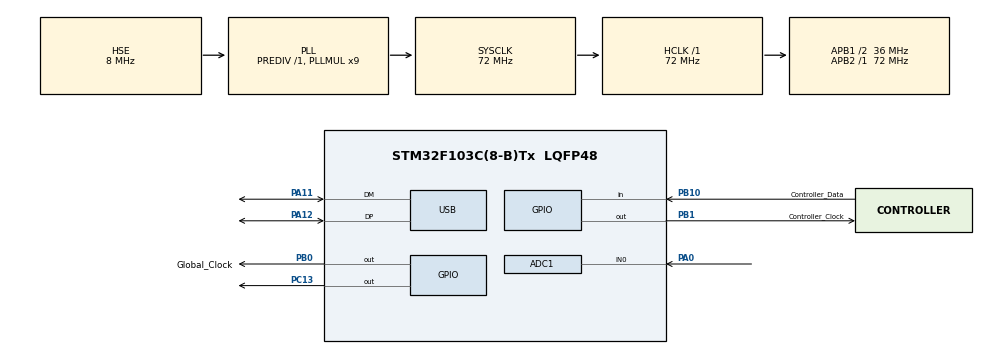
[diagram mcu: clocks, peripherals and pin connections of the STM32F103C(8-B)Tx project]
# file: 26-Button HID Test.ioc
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ADC1.Channel-0\#ChannelRegularConversion=ADC_CHANNEL_0
ADC1.NbrOfConversionFlag=1
ADC1.Rank-0\#ChannelRegularConversion=1
ADC1.SamplingTime-0\#ChannelRegularConversion=ADC_SAMPLETIME_1CYCLE_5
ADC1.master=1
Mcu.Family=STM32F1
Mcu.Name=STM32F103C(8-B)Tx
Mcu.Package=LQFP48
NVIC.PriorityGroup=NVIC_PRIORITYGROUP_4
NVIC.USB_LP_CAN1_RX0_IRQn=true\:0\:0\:false\:false\:true\:false\:true
PA0-WKUP.Signal=ADCx_IN0
PA11.Mode=Device
PA11.Signal=USB_DM
PA12.Mode=Device
PA12.Signal=USB_DP
PA13.Mode=Serial_Wire
PA13.Signal=SYS_JTMS-SWDIO
PA14.Mode=Serial_Wire
PA14.Signal=SYS_JTCK-SWCLK
PB0.GPIO_Label=Global_Clock
PB0.Signal=GPIO_Output
PB1.GPIO_Label=Controller_Clock
PB1.Signal=GPIO_Output
PB10.GPIO_Label=Controller_Data
PB10.Signal=GPIO_Input
PC13-TAMPER-RTC.Signal=GPIO_Output
PD0-OSC_IN.Mode=HSE-External-Oscillator
PD0-OSC_IN.Signal=RCC_OSC_IN
PD1-OSC_OUT.Mode=HSE-External-Oscillator
PD1-OSC_OUT.Signal=RCC_OSC_OUT
ProjectManager.HeapSize=0x200
ProjectManager.StackSize=0x400
ProjectManager.TargetToolchain=STM32CubeIDE
RCC.ADCPresc=RCC_ADCPCLK2_DIV6
RCC.AHBFreq_Value=72000000
RCC.APB1CLKDivider=RCC_HCLK_DIV2
RCC.APB1Freq_Value=36000000
RCC.APB1TimFreq_Value=72000000
RCC.APB2Freq_Value=72000000
RCC.APB2TimFreq_Value=72000000
RCC.HCLKFreq_Value=72000000
RCC.PLLMUL=RCC_PLL_MUL9
RCC.SYSCLKFreq_VALUE=72000000
RCC.SYSCLKSource=RCC_SYSCLKSOURCE_PLLCLK
RCC.USBFreq_Value=48000000
RCC.USBPrescaler=RCC_USBCLKSOURCE_PLL_DIV1_5
SH.ADCx_IN0.0=ADC1_IN0,IN0
USB_DEVICE.CLASS_NAME_FS=CUSTOM_HID
USB_DEVICE.MANUFACTURER_STRING=Kramer Electronics Ltd.
USB_DEVICE.PID_CUSTOMHID_FS=12352 
USB_DEVICE.PRODUCT_STRING_CUSTOMHID_FS=GameVision 50
USB_DEVICE.USBD_CUSTOM_HID_REPORT_DESC_SIZE=41
USB_DEVICE.VID=7857
USB_DEVICE.VirtualMode=CustomHid
USB_DEVICE.VirtualModeFS=Custom_Hid_FS
VP_USB_DEVICE_VS_USB_DEVICE_CUSTOM_HID_FS.Mode=CUSTOM_HID_FS
board=custom

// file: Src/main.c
/* USER CODE BEGIN Header */
/**
  ******************************************************************************
  * @file           : main.c
  * @brief          : Main program body
  ******************************************************************************
  * @attention
  *
  * <h2><center>&copy; Copyright (c) 2020 STMicroelectronics.
  * All rights reserved.</center></h2>
  *
  * This software component is licensed by ST under Ultimate Liberty license
  * SLA0044, the "License"; You may not use this file except in compliance with
  * the License. You may obtain a copy of the License at:
  *                             www.st.com/SLA0044
  *
  ******************************************************************************
  */
/* USER CODE END Header */

#include "main.h"
#include "usb_device.h"

/* USER CODE BEGIN Includes */
#include "stdbool.h"
#include "usbd_custom_hid_if.h"
extern USBD_HandleTypeDef hUsbDeviceFS;
/* USER CODE END Includes */

ADC_HandleTypeDef hadc1;

void SystemClock_Config(void);
static void MX_GPIO_Init(void);
static void MX_ADC1_Init(void);

int main(void)
{

  /* MCU Configuration--------------------------------------------------------*/

  /* Reset of all peripherals, Initializes the Flash interface and the Systick. */
  HAL_Init();

  /* Configure the system clock */
  SystemClock_Config();

  /* Initialize all configured peripherals */
  MX_GPIO_Init();
  MX_USB_DEVICE_Init();
  MX_ADC1_Init();
  /* USER CODE BEGIN 2 */

  uint16_t button_codes[8] = {
	  0b1000000010000000,
	  0b0100000001000000,
	  0b0010000000100000,
	  0b0001000000010000,
	  0b0000100000001000,
	  0b0000010000000100,
	  0b0000001000000010,
	  0b0000000100000001
  };

  struct gamepad_report_t
  {
	  uint16_t steering;
      uint16_t buttons;
  };

  bool clock_one_bit()
  {
	  bool result = HAL_GPIO_ReadPin(GPIOB, Controller_Data_Pin);
	  HAL_GPIO_WritePin(GPIOB, Controller_Clock_Pin, RESET); //-_
	  HAL_GPIO_WritePin(GPIOB, Controller_Clock_Pin, SET); //-_-
	  HAL_Delay(1);
	  return result;
  }

  uint16_t get_controller_register()
  {
	  uint16_t controller_register = 0;
	  uint8_t counter = 15;

	  //build 2 sets of 8 bits
	  for (uint8_t i = 0; i < 2; i++)
	  {
		  //global clock gets a pulse
		  HAL_GPIO_WritePin(GPIOB, Global_Clock_Pin, SET); //_-
		  HAL_GPIO_WritePin(GPIOB, Global_Clock_Pin, RESET); //_-_

		  //take a reading of first bit

		  for (uint8_t j = 0; j < 8; j++)
		  {
			  //clock out 8 bits
			  controller_register |= clock_one_bit() << counter--;
		  }
	  }
	  return ~controller_register;
  }

  //Setup default pin states for 3-pin controller

  HAL_GPIO_WritePin(GPIOB, Global_Clock_Pin, RESET);
  HAL_GPIO_WritePin(GPIOB, Controller_Clock_Pin, SET);

  /* USER CODE END 2 */

  /* Infinite loop */
  /* USER CODE BEGIN WHILE */
  while (1)
  {
	  struct gamepad_report_t gamepadReport;
	  //gamepadReport.buttons = 0;

	  HAL_ADC_Start(&hadc1);
	  HAL_ADC_PollForConversion(&hadc1, 100);

	  gamepadReport.steering = HAL_ADC_GetValue(&hadc1);

	  uint16_t controller_register = get_controller_register();
	  //gamepadReport.buttons = controller_register;

	  gamepadReport.buttons = 0;
	  for (int i = 0; i < (sizeof(button_codes) / 2); i++)
	  {
		  //gamepadReport.buttons |= 1 << i;

		  if (controller_register && controller_register & button_codes[i])
		  {
			  HAL_GPIO_WritePin(GPIOC, GPIO_PIN_13, RESET);
			  gamepadReport.buttons |= 1 << i;
		  }
		  else
		  {
			  HAL_GPIO_WritePin(GPIOC, GPIO_PIN_13, SET);
		  }

	  }

	  /*
	  if (get_controller_register() == 0b0100000001000000)
	  {
		  HAL_GPIO_WritePin(GPIOC, GPIO_PIN_13, RESET);
		  gamepadReport.buttons = 0b0000000000000001;
	  }
	  else
	  {
		  HAL_GPIO_WritePin(GPIOC, GPIO_PIN_13, SET);
		  gamepadReport.buttons = 0b0000000000000000;
	  }
	  */

	  USBD_CUSTOM_HID_SendReport(&hUsbDeviceFS, &gamepadReport, sizeof(struct gamepad_report_t));

    /* USER CODE END WHILE */

  }
}

void SystemClock_Config(void)
{
  RCC_OscInitTypeDef RCC_OscInitStruct = {0};
  RCC_ClkInitTypeDef RCC_ClkInitStruct = {0};
  RCC_PeriphCLKInitTypeDef PeriphClkInit = {0};

  /** Initializes the CPU, AHB and APB busses clocks
  */
  RCC_OscInitStruct.OscillatorType = RCC_OSCILLATORTYPE_HSE;
  RCC_OscInitStruct.HSEState = RCC_HSE_ON;
  RCC_OscInitStruct.HSEPredivValue = RCC_HSE_PREDIV_DIV1;
  RCC_OscInitStruct.HSIState = RCC_HSI_ON;
  RCC_OscInitStruct.PLL.PLLState = RCC_PLL_ON;
  RCC_OscInitStruct.PLL.PLLSource = RCC_PLLSOURCE_HSE;
  RCC_OscInitStruct.PLL.PLLMUL = RCC_PLL_MUL9;
  if (HAL_RCC_OscConfig(&RCC_OscInitStruct) != HAL_OK)
  {
    Error_Handler();
  }
  /** Initializes the CPU, AHB and APB busses clocks
  */
  RCC_ClkInitStruct.ClockType = RCC_CLOCKTYPE_HCLK|RCC_CLOCKTYPE_SYSCLK
                              |RCC_CLOCKTYPE_PCLK1|RCC_CLOCKTYPE_PCLK2;
  RCC_ClkInitStruct.SYSCLKSource = RCC_SYSCLKSOURCE_PLLCLK;
  RCC_ClkInitStruct.AHBCLKDivider = RCC_SYSCLK_DIV1;
  RCC_ClkInitStruct.APB1CLKDivider = RCC_HCLK_DIV2;
  RCC_ClkInitStruct.APB2CLKDivider = RCC_HCLK_DIV1;

  if (HAL_RCC_ClockConfig(&RCC_ClkInitStruct, FLASH_LATENCY_2) != HAL_OK)
  {
    Error_Handler();
  }
  PeriphClkInit.PeriphClockSelection = RCC_PERIPHCLK_ADC|RCC_PERIPHCLK_USB;
  PeriphClkInit.AdcClockSelection = RCC_ADCPCLK2_DIV6;
  PeriphClkInit.UsbClockSelection = RCC_USBCLKSOURCE_PLL_DIV1_5;
  if (HAL_RCCEx_PeriphCLKConfig(&PeriphClkInit) != HAL_OK)
  {
    Error_Handler();
  }
}

static void MX_ADC1_Init(void)
{

  ADC_ChannelConfTypeDef sConfig = {0};

  /** Common config
  */
  hadc1.Instance = ADC1;
  hadc1.Init.ScanConvMode = ADC_SCAN_DISABLE;
  hadc1.Init.ContinuousConvMode = DISABLE;
  hadc1.Init.DiscontinuousConvMode = DISABLE;
  hadc1.Init.ExternalTrigConv = ADC_SOFTWARE_START;
  hadc1.Init.DataAlign = ADC_DATAALIGN_RIGHT;
  hadc1.Init.NbrOfConversion = 1;
  if (HAL_ADC_Init(&hadc1) != HAL_OK)
  {
    Error_Handler();
  }
  /** Configure Regular Channel
  */
  sConfig.Channel = ADC_CHANNEL_0;
  sConfig.Rank = ADC_REGULAR_RANK_1;
  sConfig.SamplingTime = ADC_SAMPLETIME_1CYCLE_5;
  if (HAL_ADC_ConfigChannel(&hadc1, &sConfig) != HAL_OK)
  {
    Error_Handler();
  }

}

static void MX_GPIO_Init(void)
{
  GPIO_InitTypeDef GPIO_InitStruct = {0};

  /* GPIO Ports Clock Enable */
  __HAL_RCC_GPIOC_CLK_ENABLE();
  __HAL_RCC_GPIOD_CLK_ENABLE();
  __HAL_RCC_GPIOA_CLK_ENABLE();
  __HAL_RCC_GPIOB_CLK_ENABLE();

  /*Configure GPIO pin Output Level */
  HAL_GPIO_WritePin(GPIOC, GPIO_PIN_13, GPIO_PIN_RESET);

  /*Configure GPIO pin Output Level */
  HAL_GPIO_WritePin(GPIOB, Global_Clock_Pin|Controller_Clock_Pin, GPIO_PIN_RESET);

  /*Configure GPIO pin : PC13 */
  GPIO_InitStruct.Pin = GPIO_PIN_13;
  GPIO_InitStruct.Mode = GPIO_MODE_OUTPUT_PP;
  GPIO_InitStruct.Pull = GPIO_NOPULL;
  GPIO_InitStruct.Speed = GPIO_SPEED_FREQ_LOW;
  HAL_GPIO_Init(GPIOC, &GPIO_InitStruct);

  /*Configure GPIO pins : Global_Clock_Pin Controller_Clock_Pin */
  GPIO_InitStruct.Pin = Global_Clock_Pin|Controller_Clock_Pin;
  GPIO_InitStruct.Mode = GPIO_MODE_OUTPUT_PP;
  GPIO_InitStruct.Pull = GPIO_NOPULL;
  GPIO_InitStruct.Speed = GPIO_SPEED_FREQ_LOW;
  HAL_GPIO_Init(GPIOB, &GPIO_InitStruct);

  /*Configure GPIO pin : Controller_Data_Pin */
  GPIO_InitStruct.Pin = Controller_Data_Pin;
  GPIO_InitStruct.Mode = GPIO_MODE_INPUT;
  GPIO_InitStruct.Pull = GPIO_NOPULL;
  HAL_GPIO_Init(Controller_Data_GPIO_Port, &GPIO_InitStruct);

}

void Error_Handler(void)
{
}

/************************ (C) COPYRIGHT STMicroelectronics *****END OF FILE****/
